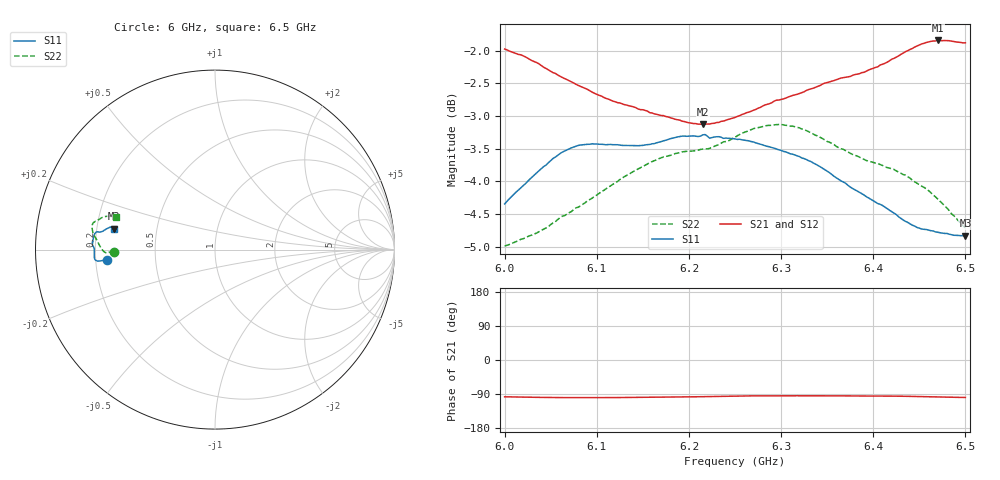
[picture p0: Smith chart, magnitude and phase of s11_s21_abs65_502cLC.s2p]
! MS46122B
! 1919307/90821646
! 7/29/2022 2:01:59 PM
! C:\USERS\PC_\DESKTOP\MEDICIONES\BANCHA ESTRECHA\6_65_GHZ\S11_S21_ABS65_502CL.S2P
! CHANNEL.1
! TR.MEASUREMENT
! CORRECTED.DATA
# GHZ S RI R 50.0
! FREQ.GHZ  S11RE  S11IM  S21RE  S21IM  S12RE  S12IM  S22RE  S22IM
!; PortSelection: Port_12
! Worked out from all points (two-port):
!   201 points, 6 GHz to 6.5 GHz, reference 50 ohm
!   highest |S21| = -1.84 dB at 6.47 GHz (marker M1); lowest = -3.1 dB at 6.215 GHz (marker M2)
!   |S21| within 3 dB of the highest: start of sweep to end of sweep
!   lowest |S11| = -4.8 dB at 6.5 GHz (marker M3), VSWR 3.69, Z = 13.7 + j4.77 ohm
!   |S11| at or under -10 dB: nowhere
!   |S22| runs from -5.0 to -3.1 dB; largest |S21 - S12| = 0.02
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6  -0.6035 -0.0586  -0.0983 -0.7905  -0.0919 -0.785  -0.5628 -0.012
6.0075  -0.6117 -0.0558  -0.1018 -0.786  -0.0964 -0.7816  -0.5656 -0.0122
6.0225  -0.6254 -0.0608  -0.1102 -0.7779  -0.107 -0.7737  -0.5711 -0.0113
6.045  -0.6462 -0.0636  -0.1169 -0.7608  -0.117 -0.7547  -0.5811 -0.0119
6.0625  -0.6614 -0.0611  -0.1223 -0.7479  -0.1181 -0.7391  -0.5932 -0.0163
6.085  -0.6711 -0.05  -0.1208 -0.7347  -0.1159 -0.7245  -0.6059 -0.0179
6.115  -0.6729 -0.0235  -0.1171 -0.7186  -0.1067 -0.7093  -0.626 -0.0036
6.1675  -0.6759 0.0143  -0.1024 -0.7018  -0.0899 -0.6929  -0.6551 0.0463
6.1875  -0.6819 0.024  -0.0971 -0.6966  -0.0828 -0.6894  -0.6607 0.0565
6.215  -0.6836 0.0401  -0.0816 -0.6929  -0.067 -0.6884  -0.6648 0.0644
6.235  -0.6797 0.0548  -0.0705 -0.6977  -0.0559 -0.6939  -0.671 0.0727
6.25  -0.6764 0.0697  -0.0633 -0.7033  -0.0492 -0.7012  -0.6763 0.0863
6.27  -0.6706 0.0879  -0.0585 -0.7127  -0.0435 -0.7121  -0.6835 0.1102
6.2875  -0.6636 0.0964  -0.057 -0.7212  -0.0428 -0.7204  -0.6844 0.1281
6.3125  -0.6544 0.0998  -0.0564 -0.7318  -0.041 -0.7329  -0.6794 0.1482
6.335  -0.6444 0.097  -0.0578 -0.7413  -0.0418 -0.7442  -0.6678 0.1561
6.3675  -0.6216 0.1042  -0.0621 -0.7548  -0.0481 -0.7614  -0.646 0.1686
6.3925  -0.603 0.1165  -0.0677 -0.763  -0.0555 -0.7714  -0.6298 0.1783
6.4175  -0.5867 0.124  -0.0722 -0.7767  -0.0625 -0.7829  -0.6195 0.1827
6.4475  -0.5681 0.1254  -0.0889 -0.7958  -0.0829 -0.8024  -0.6009 0.1857
6.47  -0.564 0.1214  -0.1073 -0.8015  -0.1037 -0.8061  -0.5821 0.1878
6.5  -0.5613 0.117  -0.1232 -0.7958  -0.1214 -0.7983  -0.5522 0.1816
